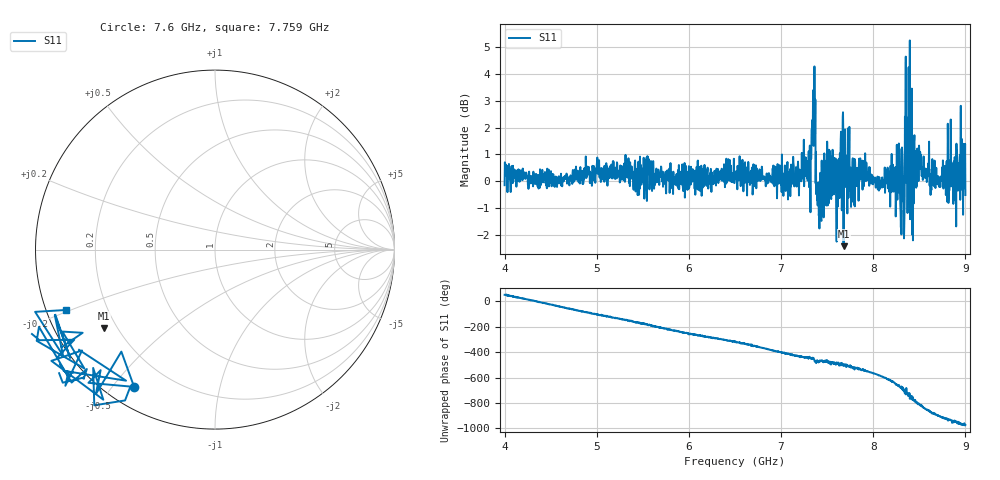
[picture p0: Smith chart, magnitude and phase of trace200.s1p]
! Created with skrf 1.8.0 (http://scikit-rf.org).
# Hz S RI R 50.0
!freq ReS11 ImS11
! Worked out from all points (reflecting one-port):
!   1601 points, 4 GHz to 9 GHz, reference 50 ohm
!   lowest |S11| = -2.4 dB at 7.678 GHz (marker M1), VSWR 7.22, Z = 7.61 - j15.5 ohm
!   phase of S11 starts at 51 deg and turns -1024 deg over the sweep
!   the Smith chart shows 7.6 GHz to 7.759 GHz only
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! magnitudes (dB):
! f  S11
! 4 GHz  -0.1
! 4.625 GHz  -0.2
! 5.25 GHz  0.0
! 5.875 GHz  0.1
! 6.5 GHz  0.4
! 7.125 GHz  0.2
! 7.303 GHz  -0.2
! 7.347 GHz  3.4
! 7.412 GHz  -1.2
! 7.525 GHz  1.1
! 7.609 GHz  -0.7
! 7.65 GHz  1.8
! 7.678 GHz  -2.4
! 7.75 GHz  -0.3
! 7.769 GHz  -0.7
! 7.869 GHz  0.7
! 8.053 GHz  0.1
! 8.262 GHz  -0.7
! 8.316 GHz  1.0
! 8.334 GHz  -2.1
! 8.347 GHz  1.0
! 8.375 GHz  0.5
! 8.412 GHz  1.2
! 8.447 GHz  1.7
! 8.466 GHz  -0.2
! 8.875 GHz  0.7
! 8.956 GHz  0.4
! 9 GHz  -0.5
